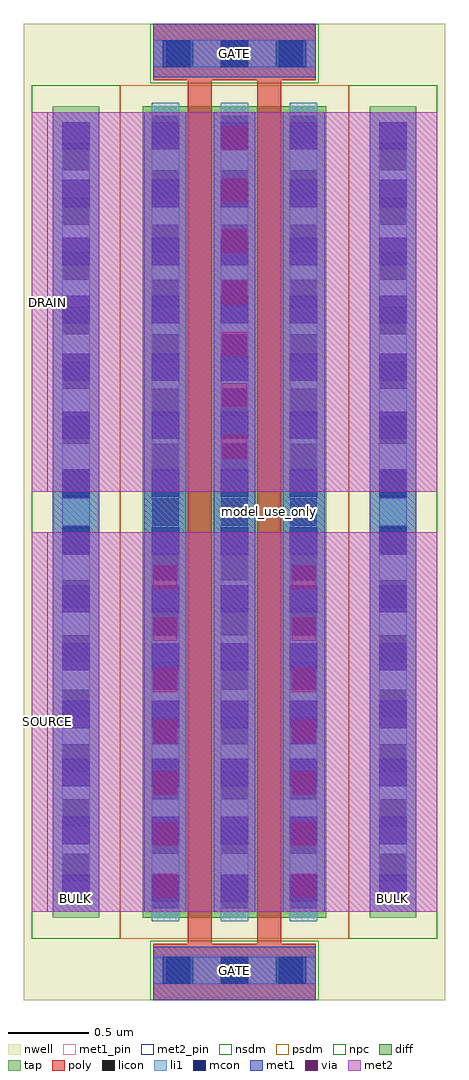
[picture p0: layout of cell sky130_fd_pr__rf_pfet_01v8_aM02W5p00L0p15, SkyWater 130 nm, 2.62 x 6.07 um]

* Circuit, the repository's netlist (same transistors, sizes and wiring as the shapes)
* Copyright 2020 The SkyWater PDK Authors
*
* Licensed under the Apache License, Version 2.0 (the "License");
* you may not use this file except in compliance with the License.
* You may obtain a copy of the License at
*
*     https://www.apache.org/licenses/LICENSE-2.0
*
* Unless required by applicable law or agreed to in writing, software
* distributed under the License is distributed on an "AS IS" BASIS,
* WITHOUT WARRANTIES OR CONDITIONS OF ANY KIND, either express or implied.
* See the License for the specific language governing permissions and
* limitations under the License.
*
* SPDX-License-Identifier: Apache-2.0


.subckt sky130_fd_pr__rf_pfet_01v8_aM02W5p00L0p15 BULK DRAIN GATE SOURCE
X0 SOURCE GATE DRAIN BULK sky130_fd_pr__pfet_01v8 w=5.05e+06u l=150000u
X1 DRAIN GATE SOURCE BULK sky130_fd_pr__pfet_01v8 w=5.05e+06u l=150000u
.ends

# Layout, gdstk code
import gdstk
lib = gdstk.Library(unit=1e-6, precision=1e-09)
def R(c, l, rs):  # rectangles x0, y0, x1, y1
    for r in rs: c.add(gdstk.rectangle(r[:2], r[2:], *l))
def A(c, l, x, y, w, h, nx, ny, dx, dy):  # array of equal rectangles
    R(c, l, [(x+i*dx, y+j*dy, x+i*dx+w, y+j*dy+h) for i in range(nx) for j in range(ny)])
nwell = (64, 20)
diff = (65, 20)
tap = (65, 44)
poly = (66, 20)
licon = (66, 44)
li1 = (67, 20)
mcon = (67, 44)
met1_pin = (68, 16)
met1 = (68, 20)
via = (68, 44)
met2_pin = (69, 16)
met2 = (69, 20)
nsdm = (93, 44)
psdm = (94, 20)
npc = (95, 20)

sky130_fd_pr__rf_pfet_01 = lib.new_cell('sky130_fd_pr__rf_pfet_01v8_aM02W5p00L0p15')
R(sky130_fd_pr__rf_pfet_01, nwell, [(0,0,2.62,6.07)])
R(sky130_fd_pr__rf_pfet_01, diff, [(0.74,0.51,1.88,5.56)])
R(sky130_fd_pr__rf_pfet_01, tap, [(0.18,0.51,0.47,5.56), (2.15,0.51,2.44,5.56)])
R(sky130_fd_pr__rf_pfet_01, poly, [(0.805,0,1.815,0.35), (1.02,0.35,1.17,5.72), (1.45,0.35,1.6,5.72), (0.805,5.72,1.815,6.07)])
A(sky130_fd_pr__rf_pfet_01, licon, 0.885, 0.1, 0.17, 0.17, 3, 2, 0.34, 5.7)
A(sky130_fd_pr__rf_pfet_01, licon, 0.795, 0.57, 0.17, 0.17, 3, 15, 0.43, 0.34)
A(sky130_fd_pr__rf_pfet_01, licon, 0.24, 0.74, 0.17, 0.17, 1, 14, 0, 0.34)
A(sky130_fd_pr__rf_pfet_01, licon, 2.21, 0.74, 0.17, 0.17, 1, 14, 0, 0.34)
A(sky130_fd_pr__rf_pfet_01, li1, 0.795, 0.49, 0.17, 5.09, 3, 1, 0.43, 0)
A(sky130_fd_pr__rf_pfet_01, li1, 0.795, 1.69, 0.17, 2.69, 3, 1, 0.43, 0)
R(sky130_fd_pr__rf_pfet_01, li1, [(0.805,0.1,1.815,0.27), (0.865,0.1,1.755,0.27), (0.24,0.61,0.41,5.46), (2.21,0.61,2.38,5.46), (0.24,0.66,0.41,5.41), (2.21,0.66,2.38,5.41), (0.24,1.68,0.41,4.39), (2.21,1.68,2.38,4.39), (0.805,5.8,1.815,5.97), (0.865,5.8,1.755,5.97)])
A(sky130_fd_pr__rf_pfet_01, mcon, 0.865, 0.1, 0.17, 0.17, 3, 2, 0.36, 5.7)
A(sky130_fd_pr__rf_pfet_01, mcon, 0.24, 0.61, 0.17, 0.17, 1, 14, 0, 0.36)
A(sky130_fd_pr__rf_pfet_01, mcon, 0.795, 0.61, 0.17, 0.17, 3, 14, 0.43, 0.36)
A(sky130_fd_pr__rf_pfet_01, mcon, 2.21, 0.61, 0.17, 0.17, 1, 14, 0, 0.36)
R(sky130_fd_pr__rf_pfet_01, met1_pin, [(0.805,0,1.815,0.33), (0.18,0.55,0.47,0.63), (2.15,0.55,2.44,0.63), (0.805,5.74,1.815,6.07)])
A(sky130_fd_pr__rf_pfet_01, met1, 0.75, 0.55, 0.26, 4.97, 3, 1, 0.43, 0)
R(sky130_fd_pr__rf_pfet_01, met1, [(0.805,0,1.815,0.33), (0.18,0.55,0.47,5.52), (0.75,0.55,1.01,2.79), (1.61,0.55,1.87,2.79), (2.15,0.55,2.44,5.52), (1.18,3.28,1.44,5.52), (0.805,5.74,1.815,6.07)])
A(sky130_fd_pr__rf_pfet_01, via, 0.805, 0.635, 0.15, 0.15, 1, 7, 0, 0.32)
A(sky130_fd_pr__rf_pfet_01, via, 1.665, 0.635, 0.15, 0.15, 1, 7, 0, 0.32)
A(sky130_fd_pr__rf_pfet_01, via, 1.235, 3.365, 0.15, 0.15, 1, 7, 0, 0.32)
R(sky130_fd_pr__rf_pfet_01, met2_pin, [(0.05,0.55,0.15,2.91), (0.05,3.16,0.15,5.52)])
R(sky130_fd_pr__rf_pfet_01, met2, [(0.05,0.55,2.57,2.91), (0.75,0.55,1.01,2.79), (1.61,0.55,1.87,2.79), (0.05,3.16,2.57,5.52), (1.18,3.28,1.44,5.52)])
R(sky130_fd_pr__rf_pfet_01, nsdm, [(0.05,0.38,0.6,5.69), (2.02,0.38,2.57,5.69)])
R(sky130_fd_pr__rf_pfet_01, psdm, [(0.6,0.38,2.02,5.69)])
R(sky130_fd_pr__rf_pfet_01, npc, [(0.785,0,1.835,0.37), (0.785,5.7,1.835,6.07)])
sky130_fd_pr__rf_pfet_01.add(gdstk.Label('model_use_only', (1.525,3.035), layer=66, texttype=83))
sky130_fd_pr__rf_pfet_01.add(gdstk.Label('model_use_only', (1.095,3.035), layer=66, texttype=83))
sky130_fd_pr__rf_pfet_01.add(gdstk.Label('DRAIN', (0.15,4.34), layer=69, texttype=5))
sky130_fd_pr__rf_pfet_01.add(gdstk.Label('SOURCE', (0.15,1.73), layer=69, texttype=5))
sky130_fd_pr__rf_pfet_01.add(gdstk.Label('BULK', (2.29,0.63), layer=68, texttype=5))
sky130_fd_pr__rf_pfet_01.add(gdstk.Label('GATE', (1.31,5.885), layer=68, texttype=5))
sky130_fd_pr__rf_pfet_01.add(gdstk.Label('GATE', (1.31,0.185), layer=68, texttype=5))
sky130_fd_pr__rf_pfet_01.add(gdstk.Label('BULK', (0.32,0.63), layer=68, texttype=5))

lib.write_gds('sky130_fd_pr__rf_pfet_01v8_aM02W5p00L0p15.gds')
